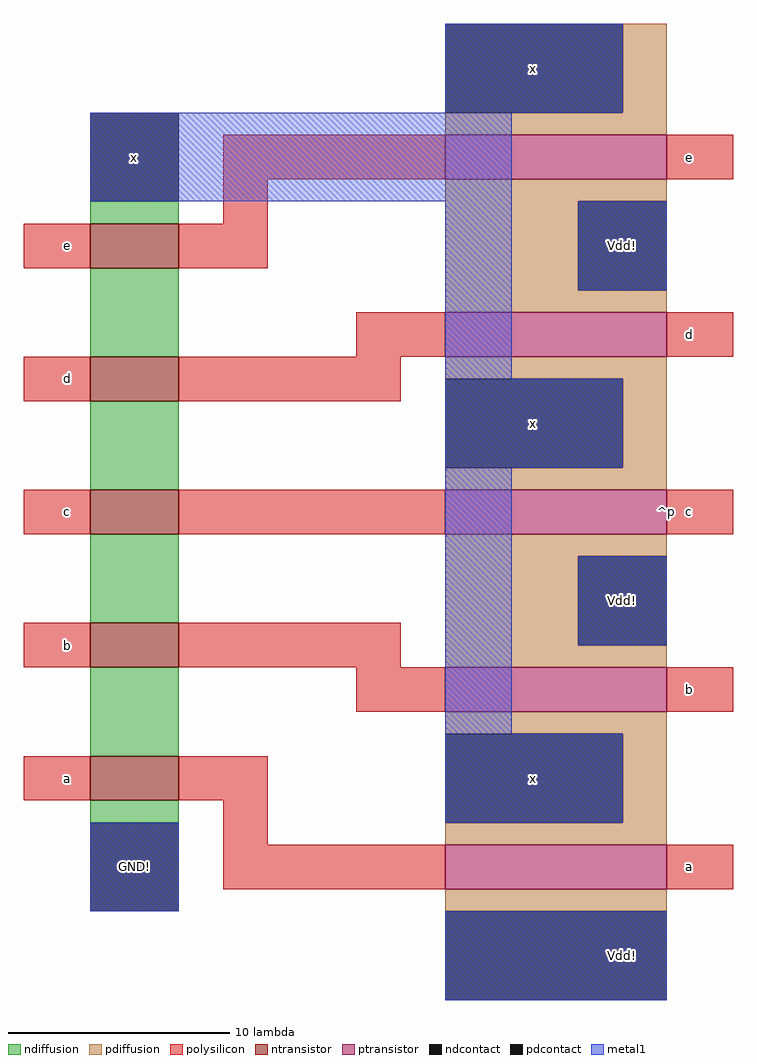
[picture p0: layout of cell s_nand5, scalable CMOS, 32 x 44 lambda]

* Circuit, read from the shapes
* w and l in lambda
.subckt s_nand5 GND! Vdd! a b c d e x
M1 n1 a GND! VSUBS nfet w=4 l=2
M2 n2 b n1 VSUBS nfet w=4 l=2
M3 n3 c n2 VSUBS nfet w=4 l=2
M4 n4 d n3 VSUBS nfet w=4 l=2
M5 x e n4 VSUBS nfet w=4 l=2
M6 x a Vdd! NWELL pfet w=10 l=2
M7 Vdd! b x NWELL pfet w=10 l=2
M8 x c Vdd! NWELL pfet w=10 l=2
M9 Vdd! d x NWELL pfet w=10 l=2
M10 x e Vdd! NWELL pfet w=10 l=2
.ends

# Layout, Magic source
magic
tech scmos
<< ndiffusion >>
rect 10 45 14 46
rect 10 39 14 43
rect 10 33 14 37
rect 10 27 14 31
rect 10 21 14 25
rect 10 18 14 19
<< pdiffusion >>
rect 34 50 36 54
rect 26 49 36 50
rect 26 46 36 47
rect 26 42 32 46
rect 26 41 36 42
rect 26 38 36 39
rect 34 34 36 38
rect 26 33 36 34
rect 26 30 36 31
rect 26 26 32 30
rect 26 25 36 26
rect 26 22 36 23
rect 34 18 36 22
rect 26 17 36 18
rect 26 14 36 15
<< ntransistor >>
rect 10 43 14 45
rect 10 37 14 39
rect 10 31 14 33
rect 10 25 14 27
rect 10 19 14 21
<< ptransistor >>
rect 26 47 36 49
rect 26 39 36 41
rect 26 31 36 33
rect 26 23 36 25
rect 26 15 36 17
<< polysilicon >>
rect 16 47 26 49
rect 36 47 39 49
rect 16 45 18 47
rect 7 43 10 45
rect 14 43 18 45
rect 22 39 26 41
rect 36 39 39 41
rect 7 37 10 39
rect 14 37 24 39
rect 7 31 10 33
rect 14 31 26 33
rect 36 31 39 33
rect 7 25 10 27
rect 14 25 24 27
rect 22 23 26 25
rect 36 23 39 25
rect 7 19 10 21
rect 14 19 18 21
rect 16 17 18 19
rect 16 15 26 17
rect 36 15 39 17
<< ndcontact >>
rect 10 46 14 50
rect 10 14 14 18
<< pdcontact >>
rect 26 50 34 54
rect 32 42 36 46
rect 26 34 34 38
rect 32 26 36 30
rect 26 18 34 22
rect 26 10 36 14
<< metal1 >>
rect 26 50 34 54
rect 10 46 29 50
rect 26 38 29 46
rect 32 42 36 46
rect 26 34 34 38
rect 26 22 29 34
rect 32 26 36 30
rect 26 18 34 22
rect 10 14 14 18
rect 26 10 36 14
<< labels >>
rlabel polysilicon 9 38 9 38 3 d
rlabel polysilicon 9 32 9 32 3 c
rlabel polysilicon 9 26 9 26 3 b
rlabel polysilicon 9 20 9 20 3 a
rlabel polysilicon 9 44 9 44 3 e
rlabel space 33 9 39 55 3 ^p
rlabel polysilicon 37 48 37 48 7 e
rlabel polysilicon 37 40 37 40 3 d
rlabel polysilicon 37 16 37 16 3 a
rlabel polysilicon 37 24 37 24 3 b
rlabel polysilicon 37 32 37 32 3 c
rlabel space 7 14 10 50 7 ^n
rlabel ndcontact 12 48 12 48 4 x
rlabel ndcontact 12 16 12 16 5 GND!
rlabel pdcontact 34 28 34 28 1 Vdd!
rlabel pdcontact 34 44 34 44 5 Vdd!
rlabel pdcontact 30 36 30 36 5 x
rlabel pdcontact 30 20 30 20 5 x
rlabel pdcontact 30 52 30 52 5 x
rlabel pdcontact 34 12 34 12 1 Vdd!
<< end >>
